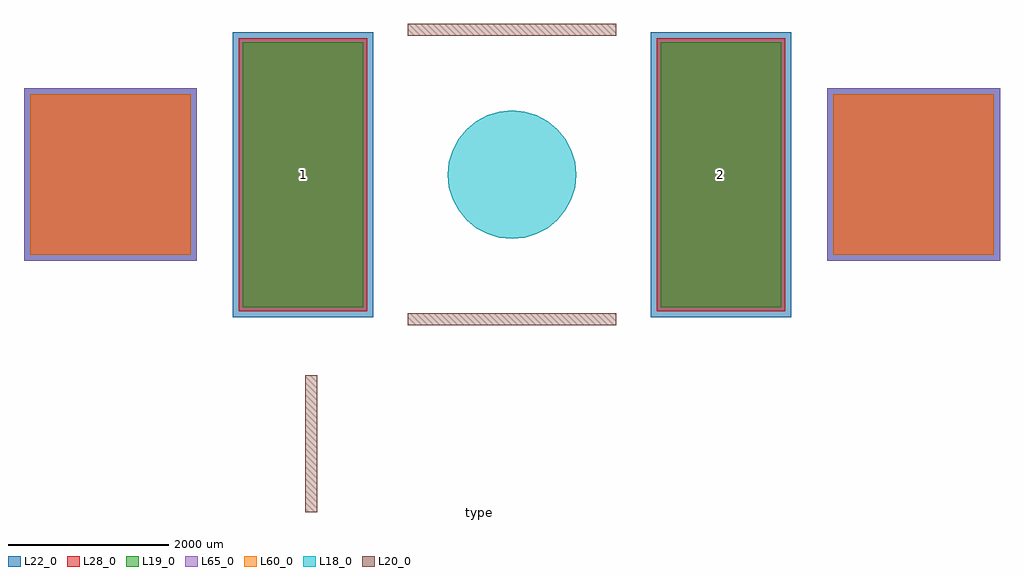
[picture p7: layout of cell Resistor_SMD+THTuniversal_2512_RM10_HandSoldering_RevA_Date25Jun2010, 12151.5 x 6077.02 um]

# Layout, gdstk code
import gdstk
lib = gdstk.Library(unit=1e-6, precision=1e-09)
def R(c, l, rs):  # rectangles x0, y0, x1, y1
    for r in rs: c.add(gdstk.rectangle(r[:2], r[2:], *l))
def P(c, l, *ps):  # polygons
    for p in ps: c.add(gdstk.Polygon(p, *l))
L18_0 = (18, 0)
L19_0 = (19, 0)
L20_0 = (20, 0)
L22_0 = (22, 0)
L28_0 = (28, 0)
L60_0 = (60, 0)
L65_0 = (65, 0)

resistor_smd_thtuniversa = lib.new_cell('Resistor_SMD+THTuniversal_2512_RM10_HandSoldering_RevA_Date25Jun2010')
P(resistor_smd_thtuniversa, L18_0, [(200.66,0),(196.804,39.147),(185.386,76.789),(166.843,111.481),(141.888,141.888),(111.481,166.843),(76.789,185.386),(39.147,196.804),(0,200.66),(-39.147,196.804),(-76.789,185.386),(-111.481,166.843),(-141.888,141.888),(-166.843,111.481),(-185.386,76.789),(-196.804,39.147),(-200.66,0),(-196.804,-39.147),(-185.386,-76.789),(-166.843,-111.481),(-141.888,-141.888),(-111.481,-166.843),(-76.789,-185.386),(-39.147,-196.804),(0,-200.66),(39.147,-196.804),(76.789,-185.386),(111.481,-166.843),(141.888,-141.888),(166.843,-111.481),(185.386,-76.789),(196.804,-39.147)],
  [(500.38,0),(490.765,97.619),(462.291,191.487),(416.051,277.996),(353.822,353.822),(277.996,416.051),(191.487,462.291),(97.619,490.765),(0,500.38),(-97.619,490.765),(-191.487,462.291),(-277.996,416.051),(-353.822,353.822),(-416.051,277.996),(-462.291,191.487),(-490.765,97.619),(-500.38,0),(-490.765,-97.619),(-462.291,-191.487),(-416.051,-277.996),(-353.822,-353.822),(-277.996,-416.051),(-191.487,-462.291),(-97.619,-490.765),(0,-500.38),(97.619,-490.765),(191.487,-462.291),(277.996,-416.051),(353.822,-353.822),(416.051,-277.996),(462.291,-191.487),(490.765,-97.619)],
  [(800.1,0),(784.726,156.092),(739.196,306.185),(665.259,444.512),(565.756,565.756),(444.512,665.259),(306.185,739.196),(156.092,784.726),(0,800.1),(-156.092,784.726),(-306.185,739.196),(-444.512,665.259),(-565.756,565.756),(-665.259,444.512),(-739.196,306.185),(-784.726,156.092),(-800.1,0),(-784.726,-156.092),(-739.196,-306.185),(-665.259,-444.512),(-565.756,-565.756),(-444.512,-665.259),(-306.185,-739.196),(-156.092,-784.726),(0,-800.1),(156.092,-784.726),(306.185,-739.196),(444.512,-665.259),(565.756,-565.756),(665.259,-444.512),(739.196,-306.185),(784.726,-156.092)])
R(resistor_smd_thtuniversa, L19_0, [(-3351.06,-1650.53,-1850.86,1650.53), (1850.86,-1650.53,3351.06,1650.53)])
R(resistor_smd_thtuniversa, L22_0, [(-3476.06,-1775.53,-1725.86,1775.53), (1725.86,-1775.53,3476.06,1775.53), (-6075.75,-1074.49,-3926.77,1074.49), (3926.77,-1074.49,6075.75,1074.49)])
R(resistor_smd_thtuniversa, L28_0, [(-3401.06,-1700.53,-1800.86,1700.53), (1800.86,-1700.53,3401.06,1700.53), (-6000.75,-999.49,-4001.77,999.49), (4001.77,-999.49,6000.75,999.49)])
R(resistor_smd_thtuniversa, L60_0, [(-6000.75,-999.49,-4001.77,999.49), (4001.77,-999.49,6000.75,999.49)])
R(resistor_smd_thtuniversa, L65_0, [(-6075.75,-1074.49,-3926.77,1074.49), (3926.77,-1074.49,6075.75,1074.49)])
resistor_smd_thtuniversa.add(gdstk.FlexPath([(-2499.36,-2499.36),(-2499.36,-4201.16)], 149.998, ends="flush", simple_path=True, layer=20, datatype=0))  # L20_0
resistor_smd_thtuniversa.add(gdstk.FlexPath([(1300.48,1800.86),(-1300.48,1800.86)], 149.998, ends="flush", simple_path=True, layer=20, datatype=0))  # L20_0
resistor_smd_thtuniversa.add(gdstk.FlexPath([(-1300.48,-1800.86),(1300.48,-1800.86)], 149.998, ends="flush", simple_path=True, layer=20, datatype=0))  # L20_0
resistor_smd_thtuniversa.add(gdstk.Label('2', (2600.96,0), layer=28, texttype=0))
resistor_smd_thtuniversa.add(gdstk.Label('1', (-2600.96,0), layer=28, texttype=0))
resistor_smd_thtuniversa.add(gdstk.Label('type', (-398.78,-4201.16), layer=9, texttype=0))
resistor_smd_thtuniversa.add(gdstk.Label('devicename', (99.06,3098.8), layer=9, texttype=0))

lib.write_gds('Resistor_SMD_THTuniversal_2512_RM10_HandSoldering_RevA_Date25Jun2010.gds')
